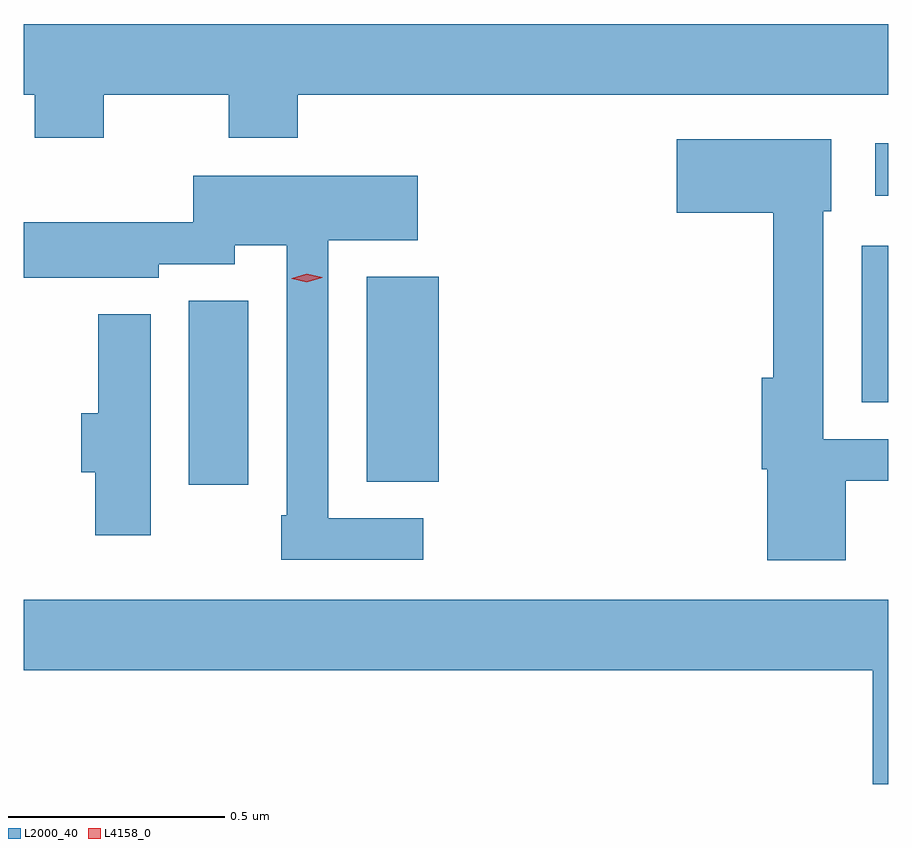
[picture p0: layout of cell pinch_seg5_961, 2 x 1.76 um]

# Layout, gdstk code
import gdstk
lib = gdstk.Library(unit=1e-6, precision=1e-09)
def R(c, l, rs):  # rectangles x0, y0, x1, y1
    for r in rs: c.add(gdstk.rectangle(r[:2], r[2:], *l))
def P(c, l, *ps):  # polygons
    for p in ps: c.add(gdstk.Polygon(p, *l))
L2000_40 = (2000, 40)
L4158_0 = (4158, 0)

pinch_seg5_961 = lib.new_cell('pinch_seg5_961')
R(pinch_seg5_961, L2000_40, [(657.524,903.81,657.661,904.235), (657.935,903.817,658.102,904.291), (659.081,904,659.142,904.363), (659.112,904.478,659.142,904.6)])
P(pinch_seg5_961, L2000_40, [(657.327,904.712),(657.616,904.712),(657.616,904.613),(657.776,904.613),(657.776,904.712),(659.142,904.712),(659.142,904.876),(657.142,904.876),(657.142,904.712),(657.167,904.712),(657.167,904.613),(657.327,904.613)],
  [(659.044,903.819),(659.142,903.819),(659.142,903.915),(658.992,903.915),(658.992,904.443),(659.011,904.443),(659.011,904.609),(658.653,904.609),(658.653,904.439),(658.876,904.439),(658.876,904.057),(658.85,904.057),(658.85,903.846),(658.862,903.846),(658.862,903.635),(659.044,903.635)],
  [(658.066,903.732),(657.846,903.732),(657.846,904.376),(658.054,904.376),(658.054,904.525),(657.534,904.525),(657.534,904.417),(657.142,904.417),(657.142,904.289),(657.454,904.289),(657.454,904.32),(657.63,904.32),(657.63,904.364),(657.75,904.364),(657.75,903.739),(657.738,903.739),(657.738,903.636),(658.066,903.636)],
  [(657.436,904.204),(657.314,904.204),(657.314,903.975),(657.275,903.975),(657.275,903.838),(657.307,903.838),(657.307,903.693),(657.436,903.693)],
  [(659.142,903.544),(657.142,903.544),(657.142,903.38),(659.107,903.38),(659.107,903.117),(659.142,903.117)])
P(pinch_seg5_961, L4158_0, [(657.797,904.278),(657.762,904.286),(657.762,904.287),(657.762,904.287),(657.797,904.298),(657.832,904.29),(657.832,904.289),(657.832,904.289)])

lib.write_gds('pinch_seg5_961.gds')
